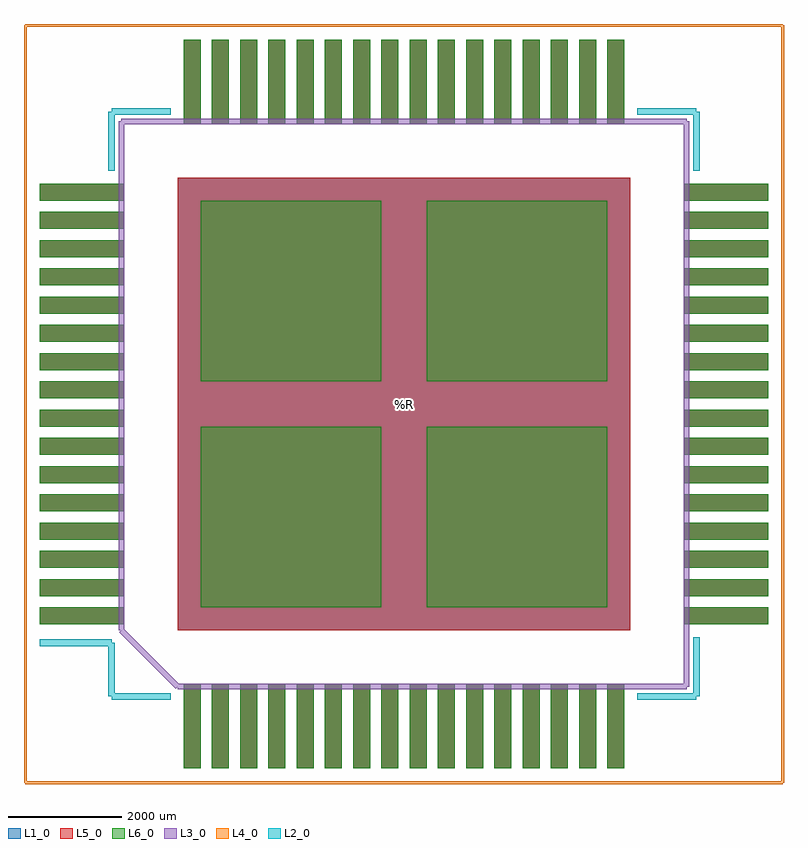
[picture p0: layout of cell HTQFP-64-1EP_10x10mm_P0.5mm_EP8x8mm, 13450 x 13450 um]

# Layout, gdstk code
import gdstk
lib = gdstk.Library(unit=1e-6, precision=1e-09)
def R(c, l, rs):  # rectangles x0, y0, x1, y1
    for r in rs: c.add(gdstk.rectangle(r[:2], r[2:], *l))
def A(c, l, x, y, w, h, nx, ny, dx, dy):  # array of equal rectangles
    R(c, l, [(x+i*dx, y+j*dy, x+i*dx+w, y+j*dy+h) for i in range(nx) for j in range(ny)])
L1_0 = (1, 0)
L2_0 = (2, 0)
L3_0 = (3, 0)
L4_0 = (4, 0)
L5_0 = (5, 0)
L6_0 = (6, 0)

htqfp_64_1ep_10x10mm_p0_ = lib.new_cell('HTQFP-64-1EP_10x10mm_P0.5mm_EP8x8mm')
A(htqfp_64_1ep_10x10mm_p0_, L1_0, -3900, -6450, 300, 1500, 16, 2, 500, 11400)
A(htqfp_64_1ep_10x10mm_p0_, L1_0, -6450, -3900, 1500, 300, 1, 16, 0, 500)
A(htqfp_64_1ep_10x10mm_p0_, L1_0, 4950, -3900, 1500, 300, 1, 16, 0, 500)
R(htqfp_64_1ep_10x10mm_p0_, L1_0, [(-4000,-4000,4000,4000)])
A(htqfp_64_1ep_10x10mm_p0_, L5_0, -3900, -6450, 300, 1500, 16, 2, 500, 11400)
A(htqfp_64_1ep_10x10mm_p0_, L5_0, -6450, -3900, 1500, 300, 1, 16, 0, 500)
A(htqfp_64_1ep_10x10mm_p0_, L5_0, 4950, -3900, 1500, 300, 1, 16, 0, 500)
R(htqfp_64_1ep_10x10mm_p0_, L5_0, [(-4000,-4000,4000,4000)])
A(htqfp_64_1ep_10x10mm_p0_, L6_0, -3900, -6450, 300, 1500, 16, 2, 500, 11400)
A(htqfp_64_1ep_10x10mm_p0_, L6_0, -6450, -3900, 1500, 300, 1, 16, 0, 500)
A(htqfp_64_1ep_10x10mm_p0_, L6_0, 4950, -3900, 1500, 300, 1, 16, 0, 500)
R(htqfp_64_1ep_10x10mm_p0_, L6_0, [(-3600,-3600,-400,-400), (400,-3600,3600,-400), (-3600,400,-400,3600), (400,400,3600,3600)])
htqfp_64_1ep_10x10mm_p0_.add(gdstk.FlexPath([(-4000,-5000),(5000,-5000)], 100, ends="flush", simple_path=True, layer=3, datatype=0))  # L3_0
htqfp_64_1ep_10x10mm_p0_.add(gdstk.FlexPath([(5000,-5000),(5000,5000)], 100, ends="flush", simple_path=True, layer=3, datatype=0))  # L3_0
htqfp_64_1ep_10x10mm_p0_.add(gdstk.FlexPath([(5000,5000),(-5000,5000)], 100, ends="flush", simple_path=True, layer=3, datatype=0))  # L3_0
htqfp_64_1ep_10x10mm_p0_.add(gdstk.FlexPath([(-5000,5000),(-5000,-4000)], 100, ends="flush", simple_path=True, layer=3, datatype=0))  # L3_0
htqfp_64_1ep_10x10mm_p0_.add(gdstk.FlexPath([(-5000,-4000),(-4000,-5000)], 100, ends="flush", simple_path=True, layer=3, datatype=0))  # L3_0
htqfp_64_1ep_10x10mm_p0_.add(gdstk.FlexPath([(-6700,-6700),(-6700,6700)], 50, ends="flush", simple_path=True, layer=4, datatype=0))  # L4_0
htqfp_64_1ep_10x10mm_p0_.add(gdstk.FlexPath([(6700,-6700),(6700,6700)], 50, ends="flush", simple_path=True, layer=4, datatype=0))  # L4_0
htqfp_64_1ep_10x10mm_p0_.add(gdstk.FlexPath([(-6700,-6700),(6700,-6700)], 50, ends="flush", simple_path=True, layer=4, datatype=0))  # L4_0
htqfp_64_1ep_10x10mm_p0_.add(gdstk.FlexPath([(-6700,6700),(6700,6700)], 50, ends="flush", simple_path=True, layer=4, datatype=0))  # L4_0
htqfp_64_1ep_10x10mm_p0_.add(gdstk.FlexPath([(-5175,-5175),(-5175,-4225)], 120, ends="flush", simple_path=True, layer=2, datatype=0))  # L2_0
htqfp_64_1ep_10x10mm_p0_.add(gdstk.FlexPath([(5175,-5175),(5175,-4125)], 120, ends="flush", simple_path=True, layer=2, datatype=0))  # L2_0
htqfp_64_1ep_10x10mm_p0_.add(gdstk.FlexPath([(5175,5175),(5175,4125)], 120, ends="flush", simple_path=True, layer=2, datatype=0))  # L2_0
htqfp_64_1ep_10x10mm_p0_.add(gdstk.FlexPath([(-5175,5175),(-5175,4125)], 120, ends="flush", simple_path=True, layer=2, datatype=0))  # L2_0
htqfp_64_1ep_10x10mm_p0_.add(gdstk.FlexPath([(-5175,-5175),(-4125,-5175)], 120, ends="flush", simple_path=True, layer=2, datatype=0))  # L2_0
htqfp_64_1ep_10x10mm_p0_.add(gdstk.FlexPath([(-5175,5175),(-4125,5175)], 120, ends="flush", simple_path=True, layer=2, datatype=0))  # L2_0
htqfp_64_1ep_10x10mm_p0_.add(gdstk.FlexPath([(5175,5175),(4125,5175)], 120, ends="flush", simple_path=True, layer=2, datatype=0))  # L2_0
htqfp_64_1ep_10x10mm_p0_.add(gdstk.FlexPath([(5175,-5175),(4125,-5175)], 120, ends="flush", simple_path=True, layer=2, datatype=0))  # L2_0
htqfp_64_1ep_10x10mm_p0_.add(gdstk.FlexPath([(-5175,-4225),(-6450,-4225)], 120, ends="flush", simple_path=True, layer=2, datatype=0))  # L2_0
htqfp_64_1ep_10x10mm_p0_.add(gdstk.Label('REF**', (0,-7450), layer=2, texttype=0))
htqfp_64_1ep_10x10mm_p0_.add(gdstk.Label('HTQFP-64-1EP_10x10mm_P0.5mm_EP8x8mm', (0,7450), layer=3, texttype=0))
htqfp_64_1ep_10x10mm_p0_.add(gdstk.Label('%R', (0,0), layer=3, texttype=0))

lib.write_gds('HTQFP-64-1EP_10x10mm_P0.5mm_EP8x8mm.gds')
